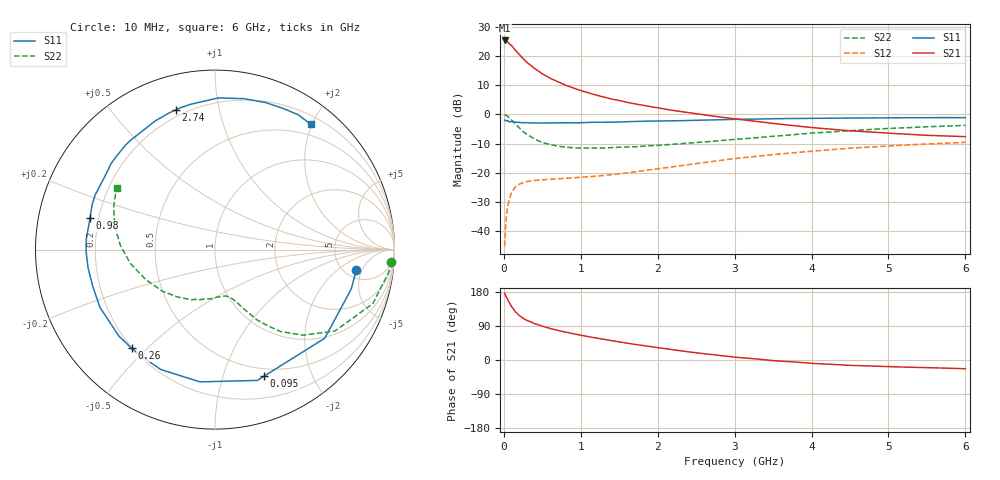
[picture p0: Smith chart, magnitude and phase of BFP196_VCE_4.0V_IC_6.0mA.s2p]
! Infineon Technologies  Discrete & RF Semiconductors
! BFP196
! VCE = 4.0 V,  IC = 6.0mA
! Common Emitter S-Parameters:  Jan 2016
# GHz  S  MA  R  50
!  f  S11  S21  S12  S22
! GHz  MAG  ANG  MAG  ANG  MAG  ANG  MAG  ANG
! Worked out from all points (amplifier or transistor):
!   210 points, 10 MHz to 6 GHz, reference 50 ohm
!   highest |S21| = 25.4 dB at 10 MHz (marker M1)
!   |S21| within 3 dB of that: start of sweep to 138.5 MHz
!   unconditionally stable (mu >= 1): 1.071 GHz to 3.306 GHz
!   at 185 MHz: K = 0.22, MSG = 22.6 dB, |S12| = -24.2 dB
!   at 1.52 GHz: K = 1.18, MAG = 10.0 dB, |S12| = -20.3 dB
!   at 6 GHz: K = 0.99, MSG = 1.0 dB, |S12| = -9.6 dB
!   S11 on the Smith chart (normalised r, x): 10 MHz: 6.33, -3.92; 95 MHz: 0.42, -1.38; 260 MHz: 0.20, -0.45; 980 MHz: 0.17, +0.12; 2.74 GHz: 0.17, +0.74; 6 GHz: 0.32, +1.99
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0.01  0.7958 -8.2  18.52 176.5  0.0055 85.3  0.9836 -4.0
0.02  0.79 -16.2  18.04 170.9  0.0107 81.4  0.9749 -7.7
0.05  0.7859 -38.9  17.4 158.6  0.0266 70.9  0.9293 -18.9
0.095  0.7564 -68.8  15.32 142.9  0.0435 57.0  0.8175 -32.4
0.1  0.766 -72.1  15.16 140.9  0.0455 56.1  0.8083 -34.1
0.15  0.7416 -96.5  12.6 127.1  0.0573 45.4  0.6852 -44.1
0.2  0.7334 -114.4  10.69 117.6  0.0634 38.4  0.5852 -51.3
0.26  0.7199 -130.2  8.759 108.9  0.0683 33.2  0.4961 -56.5
0.3  0.7202 -138.1  7.794 104.4  0.0707 30.8  0.4545 -59.2
0.4  0.7172 -153.4  6.117 95.8  0.0738 26.9  0.3761 -63.5
0.5  0.7111 -163.4  4.958 89.1  0.0754 25.2  0.3291 -66.6
0.6  0.7145 -171.8  4.176 83.3  0.077 25.0  0.3025 -69.0
0.7  0.7183 -179.2  3.62 78.0  0.0786 24.9  0.2862 -71.3
0.98  0.7183 165.7  2.615 66.2  0.0829 28.0  0.2643 -78.6
1.02  0.7211 163.7  2.516 64.6  0.0836 28.5  0.2637 -79.7
1.4  0.7354 147.7  1.833 51.1  0.0921 33.2  0.2701 -90.3
2.02  0.7697 126.8  1.276 32.1  0.118 39.5  0.295 -110.1
2.74  0.8087 105.7  0.928 13.6  0.1585 39.3  0.3478 -133.5
3.1  0.8234 97.3  0.81 5.9  0.1803 36.9  0.3807 -144.9
4.1  0.8568 77.6  0.58 -9.8  0.2393 27.2  0.4858 -173.2
5.1  0.8745 63.1  0.468 -18.1  0.2921 15.1  0.5807 164.7
6  0.8787 52.5  0.415 -23.0  0.3318 3.7  0.6481 147.8
